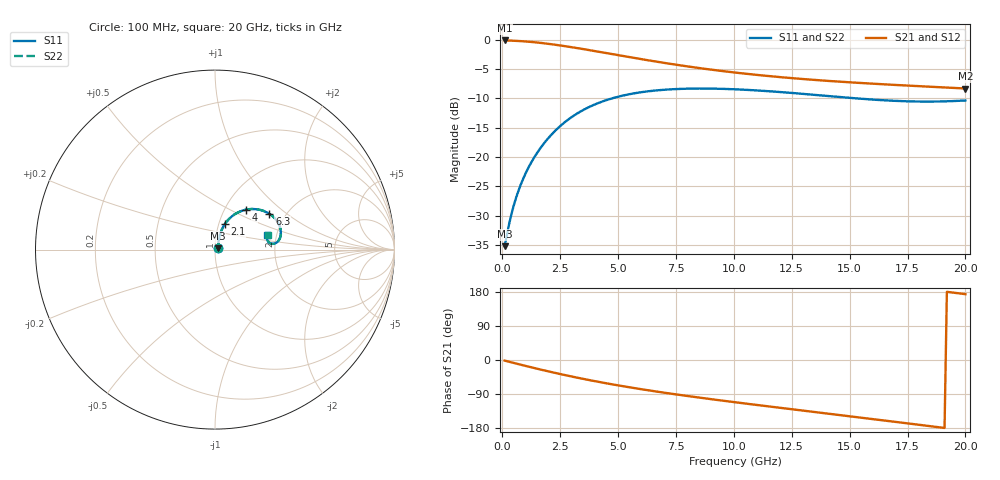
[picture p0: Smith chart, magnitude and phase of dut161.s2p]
! Touchstone file exported from HFSS 2024.1.0
!  File:  C:/UserFiles/LocalFiles/RDL_TSV_Batchsim/temp_RDL_TSV_161_1779434495.aedt
!  Generated:  03:36:22 PM May 22, 2026
!  Design:  RDL_TSV
!  Project:  temp_RDL_TSV_161_1779434495
!  Setup:  Setup1
!  Solution:  Sweep
! Variables:
!  dtsv = 7.27um
!  hbump = 3um
!  htsv = 57.68um
!  ldown = 694.2um
!  lrdl = 205.69um
!  p = 40
!  p1 = 49.8um
!  rhole = 10um
!  subl = 2905.36um
!  t = 450um
!  tdown = 4.89um
!  trdl = 3.99um
!  viad = 10um
!  wdown = 12.63um
!  wrdl = 26.81um
!  xbump = 18um
# GHz S MA R 50.000000
! Terminal data exported
! Port[1] = TM1_1_T1
! Port[2] = TM1_4_T1
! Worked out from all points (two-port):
!   200 points, 100 MHz to 20 GHz, reference 50 ohm
!   highest |S21| = -0.14 dB at 100 MHz (marker M1); lowest = -8.3 dB at 20 GHz (marker M2)
!   |S21| within 3 dB of the highest: start of sweep to 5.725 GHz
!   lowest |S11| = -35.2 dB at 100 MHz (marker M3), VSWR 1.04, Z = 51.6 + j0.749 ohm
!   |S11| at or under -10 dB: start of sweep to 4.755 GHz; 15.23 GHz to end of sweep
!   |S22| runs from -35.2 to -8.3 dB; largest |S21 - S12| = 1.6e-14
!   S11 on the Smith chart (normalised r, x): 100 MHz: 1.03, +0.01; 2.1 GHz: 1.07, +0.31; 4 GHz: 1.25, +0.60; 6.3 GHz: 1.65, +0.76; 20 GHz: 1.79, +0.31
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0.1  0.01733 24.7  0.9841 -1.6  0.9841 -1.6  0.01733 24.7
! Gamma 0 0 0 0
! Port Impedance 50 0 50 0
0.3  0.02704 50.8  0.9818 -4.8  0.9818 -4.8  0.02704 50.8
0.5  0.03887 61.4  0.9785 -7.9  0.9785 -7.9  0.03887 61.4
0.7  0.05158 66.8  0.974 -11.0  0.974 -11.0  0.05158 66.8
0.9  0.06496 69.6  0.9685 -14.0  0.9685 -14.0  0.06496 69.6
1.4  0.1006 71.6  0.9499 -21.5  0.9499 -21.5  0.1006 71.7
1.7  0.123 70.9  0.9361 -25.9  0.9361 -25.9  0.123 71.0
2.1  0.1532 68.9  0.9153 -31.6  0.9153 -31.6  0.1533 68.9
2.8  0.2048 63.4  0.8744 -41.0  0.8744 -41.0  0.205 63.5
3.5  0.2515 57.0  0.8306 -49.9  0.8306 -49.9  0.2517 57.1
4  0.2804 52.3  0.799 -55.9  0.799 -55.9  0.2806 52.4
5  0.3259 43.4  0.7378 -67.0  0.7378 -67.0  0.3263 43.5
6.3  0.3627 33.3  0.6666 -79.9  0.6666 -79.9  0.3633 33.3
6.8  0.3713 29.9  0.6423 -84.6  0.6423 -84.6  0.3718 29.9
8.3  0.3827 21.1  0.5798 -97.5  0.5798 -97.5  0.3834 21.2
10.1  0.3768 13.4  0.5228 -111.9  0.5228 -111.9  0.3776 13.5
11.7  0.3611 8.7  0.485 -124.0  0.485 -124.0  0.362 8.8
13.4  0.3394 6.1  0.4547 -136.6  0.4547 -136.6  0.3403 6.1
15.1  0.3177 5.8  0.4314 -149.2  0.4314 -149.2  0.3187 5.8
16.7  0.3023 7.7  0.4136 -161.1  0.4136 -161.1  0.3033 7.7
18.3  0.2963 11.1  0.3982 -173.2  0.3982 -173.2  0.2973 11.1
20  0.3027 15.1  0.3831 173.8  0.3831 173.8  0.3036 15.1
